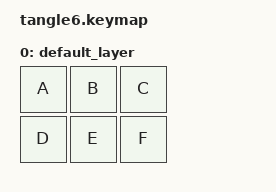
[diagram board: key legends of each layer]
#include <behaviors.dtsi>
#include <dt-bindings/zmk/keys.h>

/ {
    keymap {
        compatible = "zmk,keymap";

        default_layer { // Layer 0
            // -------------------------------------
            // |     A     |     B     |     C     |
            // |     D     |     E     |     F     |
            bindings = <
                &kp A    &kp B    &kp C
                &kp D    &kp E    &kp F
            >;
        };
    };
 };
